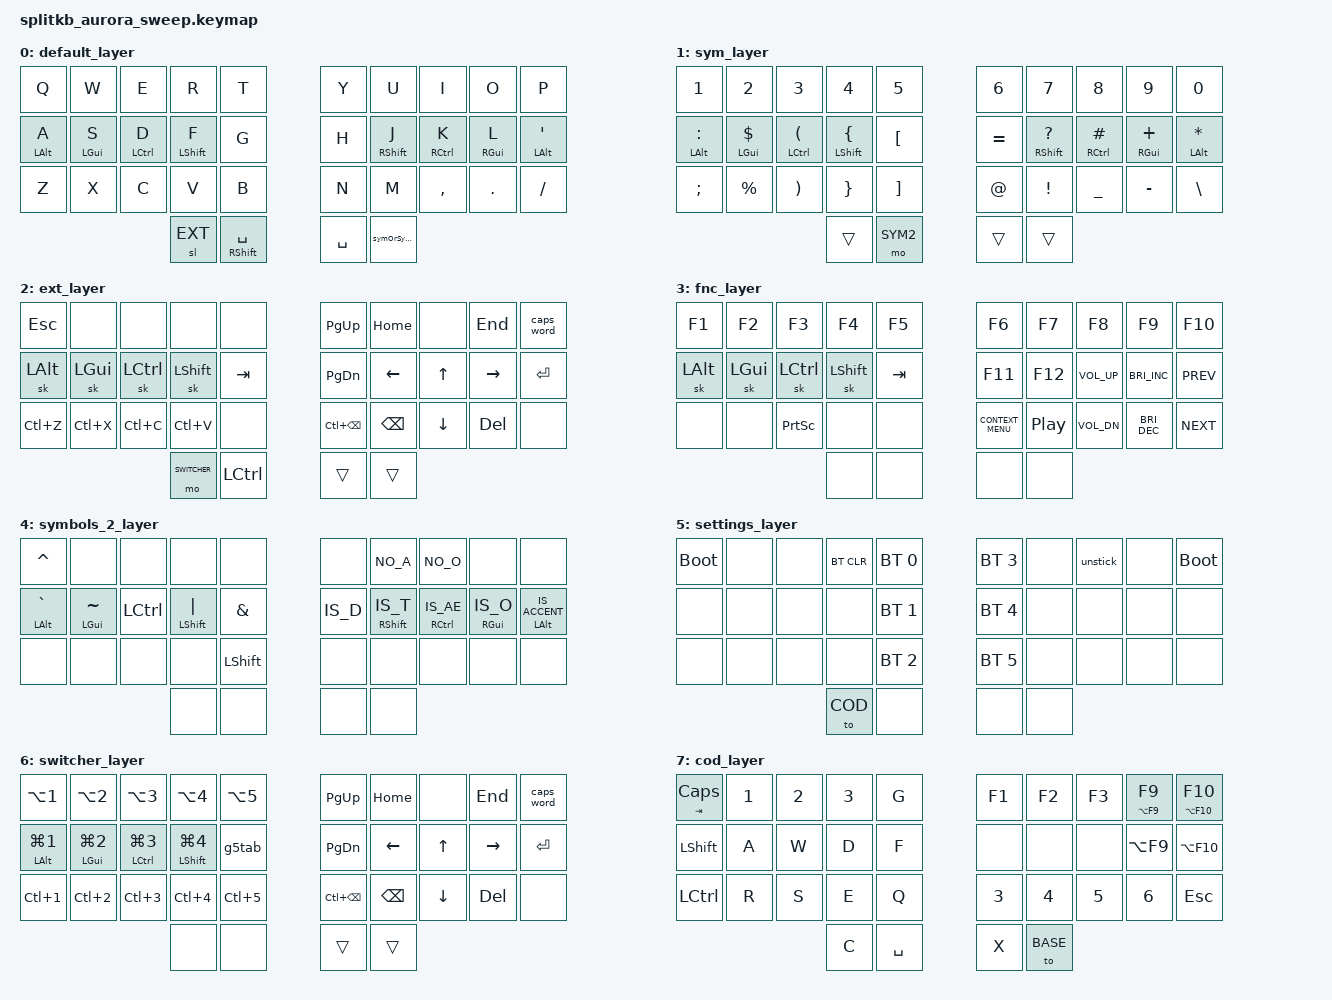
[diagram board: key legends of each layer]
/*
 * Copyright (c) 2020 The ZMK Contributors
 *
 * SPDX-License-Identifier: MIT
 */

#include "keymap_icelandic_norwegian.h"
#include <behaviors.dtsi>
#include <dt-bindings/zmk/bt.h>
#include <dt-bindings/zmk/keys.h>

// Layer definitions

#define BASE 0
#define SYM 1
#define EXT 2
#define FNC 3
#define SYM2 4
#define SETTINGS 5
#define SWITCHER 6
#define COD 7

// -----------------

#define NOT_COD BASE SYM EXT FNC SYM2 SETTINGS SWITCHER

// -----------------

&mt {
    //  flavor = "tap-preferred";
    // tapping_term_ms = <200>;
};

&sk { ignore-modifiers; };

&sl { release-after-ms = <333>; };

/ {
    macros {
        // sometimes my device thinks a modifier is being held down
        // pressing all modifiers fixes it.

        unstick: unstick {
            label = "ZM_unstick";
            compatible = "zmk,behavior-macro";
            #binding-cells = <0>;
            bindings = <&kp LSHIFT &kp RSHIFT &kp LCTRL &kp RCTRL &kp LALT &kp RALT &kp LGUI &kp RGUI>;
        };
    };

    conditional_layers {
        compatible = "zmk,conditional-layers";

        fnc_layer {
            if-layers = <SYM EXT>;
            then-layer = <FNC>;
        };
    };

    behaviors {
        g5tab: gui5_tab {
            compatible = "zmk,behavior-mod-morph";
            label = "GUI5_TAB";
            #binding-cells = <0>;
            bindings = <&kp LG(N5)>, <&kp TAB>;

            mods = <(MOD_LALT|MOD_LGUI|MOD_LCTL)>;
            keep-mods = <(MOD_LALT|MOD_LGUI|MOD_LCTL)>;
        };

        symOrSym2: sym_or_sym2 {
            compatible = "zmk,behavior-mod-morph";
            label = "SYM_OR_SYM2";
            #binding-cells = <0>;
            bindings = <&mo SYM>, <&mo SYM2>;

            mods = <(MOD_RSFT)>;
        };

        hml: hml {
            compatible = "zmk,behavior-hold-tap";
            label = "HML";
            bindings = <&kp>, <&kp>;

            #binding-cells = <2>;
            tapping-term-ms = <280>;
            quick-tap-ms = <175>;
            require-prior-idle-ms = <150>;
            flavor = "balanced";
            hold-trigger-on-release;
            hold-trigger-key-positions = <5 6 7 8 9 15 16 17 18 19 25 26 27 28 29 32 33 31 30>;
        };

        hmr: hmr {
            compatible = "zmk,behavior-hold-tap";
            label = "HMR";
            bindings = <&kp>, <&kp>;

            #binding-cells = <2>;
            tapping-term-ms = <280>;
            quick-tap-ms = <175>;
            require-prior-idle-ms = <150>;
            flavor = "balanced";
            hold-trigger-on-release;
            hold-trigger-key-positions = <0 1 2 3 4 10 11 12 13 14 20 21 22 23 24 30 31 32 33>;
        };
    };

    combos {
        compatible = "zmk,combos";

        // both right thumb keys

        combo_settings {
            timeout-ms = <150>;
            key-positions = <32 33>;
            bindings = <&mo SETTINGS>;
        };

        // both left thumb keys

        combo_switcher {
            timeout-ms = <150>;
            key-positions = <30 31>;
            layers = <NOT_COD>;
            bindings = <&mo SWITCHER>;
        };
    };

    keymap {
        compatible = "zmk,keymap";

        // Base alpha layer

        default_layer {
            bindings = <
&kp Q        &kp W             &kp E         &kp R          &kp T    &kp Y  &kp U          &kp I         &kp O        &kp P
&hml LALT A  &hml LGUI S       &hml LCTRL D  &hml LSHIFT F  &kp G    &kp H  &hmr RSHIFT J  &hmr RCTRL K  &hmr RGUI L  &hmr LALT QUOT
&kp Z        &kp X             &kp C         &kp V          &kp B    &kp N  &kp M          &kp COMMA     &kp DOT      &kp FSLH
&sl EXT      &mt RSHIFT SPACE                                                                            &kp SPACE    &symOrSym2
            >;
        };

        // Numbers and high frequency symbols

        sym_layer {
            bindings = <
&kp N1           &kp N2            &kp N3           &kp N4            &kp N5      &kp N6     &kp N7                &kp N8           &kp N9          &kp N0
&hml LALT COLON  &hml LGUI DOLLAR  &hml LCTRL LPAR  &hml LSHIFT LBRC  &kp LBKT    &kp EQUAL  &hmr RSHIFT QUESTION  &hmr RCTRL HASH  &hmr RGUI PLUS  &hmr LALT ASTRK
&kp SEMI         &kp PERCENT       &kp RPAR         &kp RBRC          &kp RBKT    &kp AT     &kp EXCL              &kp UNDER        &kp MINUS       &kp BSLH
&trans           &mo SYM2                                                                                                           &trans          &trans
            >;
        };

        // Main modifiers and arrow keys

        ext_layer {
            bindings = <
&kp ESC       &none      &none      &none       &none      &kp PG_UP     &kp HOME  &none     &kp END    &caps_word
&sk LALT      &sk LGUI   &sk LCTRL  &sk LSHIFT  &kp TAB    &kp PG_DN     &kp LEFT  &kp UP    &kp RIGHT  &kp ENTER
&kp LC(Z)     &kp LC(X)  &kp LC(C)  &kp LC(V)   &none      &kp LC(BSPC)  &kp BSPC  &kp DOWN  &kp DEL    &none
&mo SWITCHER  &kp LCTRL                                                                      &trans     &trans
            >;
        };

        // Function keys with modifiers

        fnc_layer {
            bindings = <
&kp F1    &kp F2    &kp F3           &kp F4      &kp F5     &kp F6              &kp F7            &kp F8        &kp F9         &kp F10
&sk LALT  &sk LGUI  &sk LCTRL        &sk LSHIFT  &kp TAB    &kp F11             &kp F12           &kp C_VOL_UP  &kp C_BRI_INC  &kp C_PREV
&none     &none     &kp PRINTSCREEN  &none       &none      &kp K_CONTEXT_MENU  &kp C_PLAY_PAUSE  &kp C_VOL_DN  &kp C_BRI_DEC  &kp C_NEXT
&none     &none                                                                                                 &none          &none
            >;
        };

        // Low frequency symbols.

        symbols_2_layer {
            bindings = <
&kp CARET        &none            &none      &none             &none         &none     &kp NO_A          &kp NO_O          &none           &none
&hml LALT GRAVE  &hml LGUI TILDE  &kp LCTRL  &hml LSHIFT PIPE  &kp AMPS      &kp IS_D  &hmr RSHIFT IS_T  &hmr RCTRL IS_AE  &hmr RGUI IS_O  &hmr LALT IS_ACCENT
&none            &none            &none      &none             &kp LSHIFT    &none     &none             &none             &none           &none
&none            &none                                                                                                     &none           &none
            >;
        };

        // Used to change the keyboard's settings.

        settings_layer {
            bindings = <
&bootloader  &none  &none  &bt BT_CLR  &bt BT_SEL 0    &bt BT_SEL 3  &none  &unstick  &none  &bootloader
&none        &none  &none  &none       &bt BT_SEL 1    &bt BT_SEL 4  &none  &none     &none  &none
&none        &none  &none  &none       &bt BT_SEL 2    &bt BT_SEL 5  &none  &none     &none  &none
&to COD      &none                                                                    &none  &none
            >;
        };

        // Used to switch between tabs, apps, etc.
        // TODO: change the right side to be like the EXT layer
        // TODO: and change left homerow to use &mt to make it similar to the homerow in other layers
        //       this is to enable moving windows with ctrl or shift + arrow keys

        switcher_layer {
            bindings = <
&kp LA(N1)       &kp LA(N2)       &kp LA(N3)        &kp LA(N4)         &kp LA(N5)    &kp PG_UP     &kp HOME  &none     &kp END    &caps_word
&mt LALT LG(N1)  &mt LGUI LG(N2)  &mt LCTRL LG(N3)  &mt LSHIFT LG(N4)  &g5tab        &kp PG_DN     &kp LEFT  &kp UP    &kp RIGHT  &kp ENTER
&kp LC(N1)       &kp LC(N2)       &kp LC(N3)        &kp LC(N4)         &kp LC(N5)    &kp LC(BSPC)  &kp BSPC  &kp DOWN  &kp DEL    &none
&none            &none                                                                                                 &trans     &trans
            >;
        };

        // TODO: add a &mo to another layer with a numpad area

        cod_layer {
            bindings = <
&mt TAB CAPS  &kp N1     &kp N2  &kp N3  &kp G    &kp F1  &kp F2  &kp F3  &mt LA(F9) F9  &mt LA(F10) F10
&kp LSHIFT    &kp A      &kp W   &kp D   &kp F    &none   &none   &none   &kp LA(F9)     &kp LA(F10)
&kp LCTRL     &kp R      &kp S   &kp E   &kp Q    &kp N3  &kp N4  &kp N5  &kp N6         &kp ESC
&kp C         &kp SPACE                                                   &kp X          &to BASE
            >;
        };
    };
};
